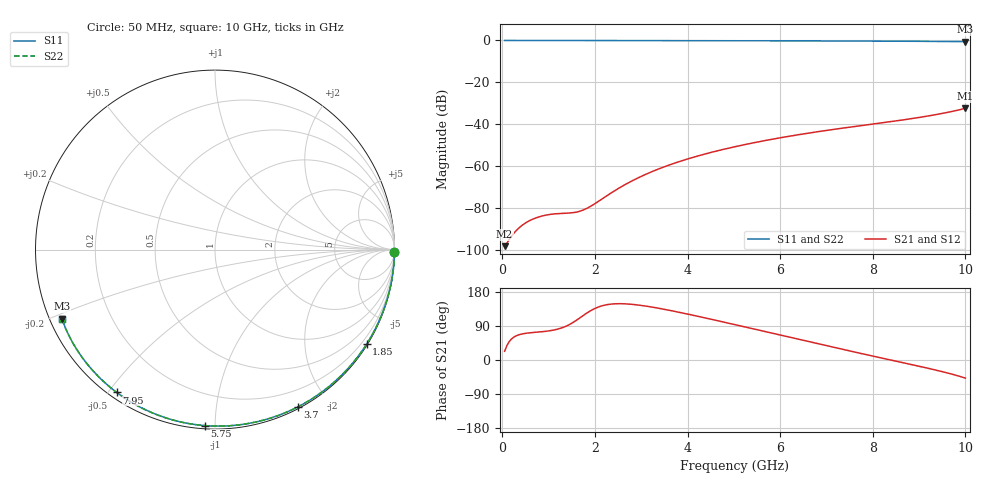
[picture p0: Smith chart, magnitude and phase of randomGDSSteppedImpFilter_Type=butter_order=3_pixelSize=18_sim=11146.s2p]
! freq	dB(S11)	phase(S11)	dB(S12)	phase(S12)
!  dB(S21)	phase(S21)	dB(S22)	phase(S22)
!S-par simulation data
#  GHz  S  DB  R 50
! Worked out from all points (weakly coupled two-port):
!   200 points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, 50 MHz to 10 GHz, reference 50 ohm
!   highest |S21| = -32.37 dB at 10 GHz (marker M1); lowest = -98.1 dB at 50 MHz (marker M2)
!   lowest |S11| = -0.6 dB at 10 GHz (marker M3), VSWR 30.17, Z = 1.73 - j10.7 ohm
!   |S11| at or under -10 dB: nowhere
!   |S22| runs from -0.6 to 0.0 dB; largest |S21 - S12| = 0
!   S11 on the Smith chart (normalised r, x): 50 MHz: open; 1.85 GHz: 0.03, -3.50; 3.7 GHz: 0.02, -1.66; 5.75 GHz: 0.02, -0.94; 7.95 GHz: 0.02, -0.53; 10 GHz: 0.03, -0.21
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0.05  -0.00 -0.9  -98.05 23.1  -98.05 23.1  -0.00 -0.9
0.45  -0.00 -7.9  -87.76 69.3  -87.76 69.3  -0.00 -7.9
0.85  -0.01 -14.8  -83.72 74.6  -83.72 74.6  -0.01 -14.8
1.3  -0.03 -22.6  -82.42 85.4  -82.42 85.4  -0.03 -22.6
1.75  -0.04 -30.2  -80.81 117.7  -80.81 117.7  -0.04 -30.2
1.85  -0.04 -31.9  -79.76 125.9  -79.76 125.9  -0.04 -31.9
2  -0.04 -34.4  -77.80 136.0  -77.80 136.0  -0.04 -34.5
2.45  -0.05 -42.0  -71.30 148.4  -71.30 148.4  -0.05 -42.0
2.7  -0.06 -46.1  -68.11 147.9  -68.11 147.9  -0.06 -46.1
3.05  -0.07 -51.8  -64.27 143.2  -64.27 143.2  -0.07 -51.8
3.4  -0.08 -57.4  -61.03 136.0  -61.03 136.0  -0.08 -57.4
3.7  -0.08 -62.2  -58.63 128.9  -58.63 128.9  -0.08 -62.2
4.3  -0.10 -71.5  -54.58 113.2  -54.58 113.2  -0.10 -71.6
5.05  -0.13 -82.9  -50.52 92.6  -50.52 92.6  -0.13 -82.9
5.75  -0.16 -93.2  -47.40 73.0  -47.40 73.0  -0.16 -93.3
6.2  -0.18 -99.8  -45.64 60.3  -45.64 60.3  -0.18 -99.8
6.7  -0.21 -106.9  -43.87 46.2  -43.87 46.2  -0.21 -106.9
7.3  -0.25 -115.4  -41.94 29.4  -41.94 29.4  -0.25 -115.4
7.95  -0.30 -124.5  -40.00 11.6  -40.00 11.6  -0.30 -124.6
8.35  -0.34 -130.2  -38.81 0.9  -38.81 0.9  -0.34 -130.3
9.3  -0.44 -144.3  -35.60 -24.8  -35.60 -24.8  -0.44 -144.3
10  -0.58 -155.7  -32.37 -47.8  -32.37 -47.8  -0.58 -155.8
